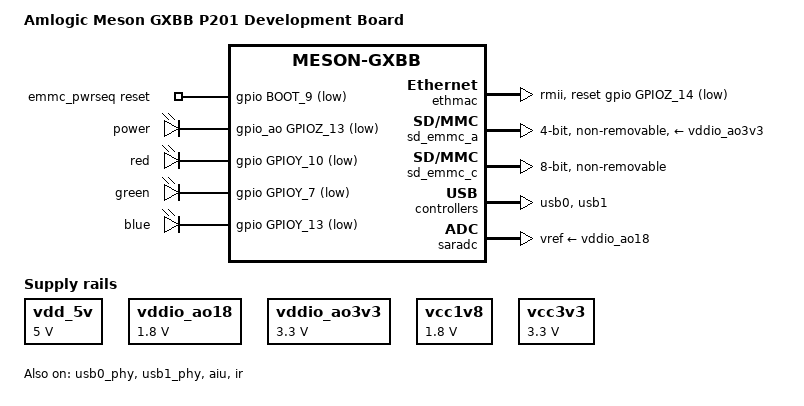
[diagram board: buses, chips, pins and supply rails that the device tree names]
// SPDX-License-Identifier: (GPL-2.0+ OR MIT)
/*
 * Copyright (c) 2016 Andreas Färber
 * Copyright (c) 2016 BayLibre, Inc.
 * Author: Kevin Hilman <khilman@kernel.org>
 */

/dts-v1/;

#include "meson-gxbb-p20x.dtsi"

/ {
	compatible = "amlogic,p201", "amlogic,meson-gxbb";
	model = "Amlogic Meson GXBB P201 Development Board";
	emmc_pwrseq: emmc-pwrseq {
		compatible = "mmc-pwrseq-emmc";
		reset-gpios = <&gpio BOOT_9 GPIO_ACTIVE_LOW>;
	};

	vdd_5v: regulator-vdd-5v {
		compatible = "regulator-fixed";
		regulator-name = "VDD_5V";
		regulator-min-microvolt = <5000000>;
		regulator-max-microvolt = <5000000>;
	};

	vddio_ao18: regulator-vddio-ao18 {
		compatible = "regulator-fixed";
		regulator-name = "VDDIO_AO18";
		regulator-min-microvolt = <1800000>;
		regulator-max-microvolt = <1800000>;
	};

	vddio_ao3v3: regulator-vddio-ao3v3 {
		compatible = "regulator-fixed";
		regulator-name = "VDDIO_AO3.3V";
		regulator-min-microvolt = <3300000>;
		regulator-max-microvolt = <3300000>;
	};

	vcc1v8: regulator-vcc1v8 {
		compatible = "regulator-fixed";
		regulator-name = "VCC1.8V";
		regulator-min-microvolt = <1800000>;
		regulator-max-microvolt = <1800000>;
	};

	vcc3v3: regulator-vcc3v3 {
		compatible = "regulator-fixed";
		regulator-name = "VCC3.3V";
		regulator-min-microvolt = <3300000>;
		regulator-max-microvolt = <3300000>;
	};

	leds {
		compatible = "gpio-leds";
		led-power {
			label = "power";
			gpios = <&gpio_ao GPIOZ_13 GPIO_ACTIVE_LOW>;
			default-state = "off";
			panic-indicator;
		};
		led-red {
			label = "red";
			gpios = <&gpio GPIOY_10 GPIO_ACTIVE_LOW>;
			default-state = "off";
			panic-indicator;
		};
		led-green {
			label = "green";
			gpios = <&gpio GPIOY_7 GPIO_ACTIVE_LOW>;
			default-state = "off";
			panic-indicator;
		};
		led-blue {
			label = "blue";
			gpios = <&gpio GPIOY_13 GPIO_ACTIVE_LOW>;
			default-state = "off";
			panic-indicator;
		};
	};
};

&ethmac {
	status = "okay";
	pinctrl-0 = <&eth_rmii_pins>;
	pinctrl-names = "default";
	phy-mode = "rmii";
	reg = <0x0 0xc9410000 0x0 0x10000>,
			<0x0 0xc8834540 0x0 0x8>;

	snps,reset-gpio = <&gpio GPIOZ_14 0>;
	snps,reset-delays-us = <0>, <10000>, <1000000>;
	snps,reset-active-low;
};

/* SDIO */
&sd_emmc_a {
	status = "okay";
	pinctrl-0 = <&sdio_pins>, <&sdio_irq_pins>;
	pinctrl-1 = <&sdio_clk_gate_pins>;
	pinctrl-names = "default", "clk-gate";
	#address-cells = <1>;
	#size-cells = <0>;
	interrupts = <GIC_SPI 216 IRQ_TYPE_LEVEL_HIGH>;

	bus-width = <4>;
	cap-sd-highspeed;
	// max-frequency = <0x20000>;

	non-removable;
	disable-wp;

	/* WiFi firmware requires power to be kept while in suspend */
	keep-power-in-suspend;

	mmc-pwrseq = <&sdio_pwrseq>;

	vmmc-supply = <&vddio_ao3v3>;
	vqmmc-supply = <&vddio_ao18>;

	// brcmf: wifi@1 {
	// 	compatible = "brcm,bcm4329-fmac";
	// 	reg = <1>;
	// };
};

/* SD */
// &sd_emmc_b {
// 	status = "okay";
// 	pinctrl-0 = <&sdcard_pins>;
// 	pinctrl-1 = <&sdcard_clk_gate_pins>;
// 	pinctrl-names = "default", "clk-gate";

// 	bus-width = <4>;
// 	cap-sd-highspeed;
// 	sd-uhs-sdr12;
// 	sd-uhs-sdr25;
// 	sd-uhs-sdr50;
// 	sd-uhs-ddr50;
// 	disable-wp;

// 	cd-gpios = <&gpio CARD_6 GPIO_ACTIVE_HIGH>;
// };

/* eMMC */
&sd_emmc_c {
	status = "okay";
	pinctrl-0 = <&emmc_pins>, <&emmc_ds_pins>;
	pinctrl-1 = <&emmc_clk_gate_pins>;
	reg = <0x0 0x74000 0x0 0x2000>;
	pinctrl-names = "default", "clk-gate";

	bus-width = <8>;
	max-frequency = <200000000>;
	non-removable;
	disable-wp;
	cap-mmc-highspeed;
	mmc-ddr-1_8v;
	mmc-hs200-1_8v;

	mmc-pwrseq = <&emmc_pwrseq>;
	// vmmc-supply = <&vcc3v3>;
	// vqmmc-supply = <&vcc1v8>;
};

&usb0_phy {
	status = "okay";
	phy-supply = <&vdd_5v>;
};

&usb1_phy {
	status = "okay";
};

&usb0 {
	status = "okay";
	clock-names = "usb1";
};

&usb1 {
	status = "okay";
	clock-names = "usb2";
};

&aiu {
	status = "okay";
};

&saradc {
	status = "okay";
	vref-supply = <&vddio_ao18>;
};

&ir {
	status = "okay";
};
